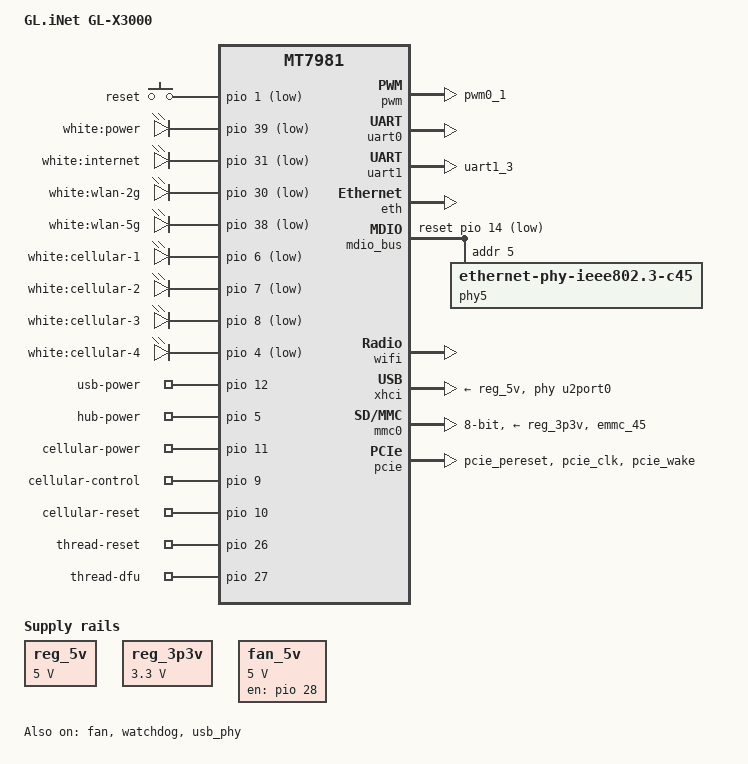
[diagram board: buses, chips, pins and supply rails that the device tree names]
// SPDX-License-Identifier: (GPL-2.0 OR MIT)

/dts-v1/;
#include "mt7981.dtsi"

/ {
	model = "GL.iNet GL-X3000";
	compatible = "glinet,gl-x3000", "mediatek,mt7981";

	aliases {
		label-mac-device = &gmac0;
		led-boot = &led_power;
		led-failsafe = &led_power;
		led-running = &led_power;
		led-upgrade = &led_power;
		serial0 = &uart0;
	};

	chosen {
		stdout-path = "serial0:115200n8";
		bootargs-append = " root=PARTLABEL=rootfs rootwait";
	};
	
	reg_5v: regulator-5v {
		compatible = "regulator-fixed";
		regulator-name = "fixed-5V";
		regulator-min-microvolt = <5000000>;
		regulator-max-microvolt = <5000000>;
		regulator-boot-on;
		regulator-always-on;
	};

	gpio-keys {
		compatible = "gpio-keys";

		reset {
			label = "reset";
			linux,code = <KEY_RESTART>;
			gpios = <&pio 1 GPIO_ACTIVE_LOW>;
		};
	};

	leds {
		compatible = "gpio-leds";

		led_power: led-power-white {
			label = "white:power";
			gpios = <&pio 39 GPIO_ACTIVE_LOW>;
		};

		led-internet {
			label = "white:internet";
			gpios = <&pio 31 GPIO_ACTIVE_LOW>;
		};

		led-wlan-2g {
			label = "white:wlan-2g";
			gpios = <&pio 30 GPIO_ACTIVE_LOW>;
		};

		led-wlan-5g {
			label = "white:wlan-5g";
			gpios = <&pio 38 GPIO_ACTIVE_LOW>;
		};

		led-cellular-1 {
			label = "white:cellular-1";
			gpios = <&pio 6 GPIO_ACTIVE_LOW>;
		};

		led-cellular-2 {
			label = "white:cellular-2";
			gpios = <&pio 7 GPIO_ACTIVE_LOW>;
		};

		led-cellular-3 {
			label = "white:cellular-3";
			gpios = <&pio 8 GPIO_ACTIVE_LOW>;
		};

		led-cellular-4 {
			label = "white:cellular-4";
			gpios = <&pio 4 GPIO_ACTIVE_LOW>;
		};
	};

	gpio-export {
		compatible = "gpio-export";

		usb-power {
			gpio-export,name = "usb-power";
			gpio-export,output = <1>;
			gpios = <&pio 12 GPIO_ACTIVE_HIGH>;
		};

		hub-power {
			gpio-export,name = "hub-power";
			gpio-export,output = <1>;
			gpios = <&pio 5 GPIO_ACTIVE_HIGH>;
		};

		cellular-power {
			gpio-export,name = "cellular-power";
			gpio-export,output = <1>;
			gpios = <&pio 11 GPIO_ACTIVE_HIGH>;
		};

		cellular-control {
			gpio-export,name = "cellular-control";
			gpio-export,output = <1>;
			gpios = <&pio 9 GPIO_ACTIVE_HIGH>;
		};

		cellular-reset {
			gpio-export,name = "cellular-reset";
			gpio-export,output = <0x00>;
			gpios = <&pio 10 GPIO_ACTIVE_HIGH>;
		};

		thread-reset {
			gpio-export,name = "thread-reset";
			gpio-export,output = <1>;
			gpios = <&pio 26 GPIO_ACTIVE_HIGH>;
		};

		thread-dfu {
			gpio-export,name = "thread-dfu";
			gpio-export,output = <1>;
			gpios = <&pio 27 GPIO_ACTIVE_HIGH>;
		};
	};

	reg_3p3v: regulator-3p3v {
		compatible = "regulator-fixed";
		regulator-name = "fixed-3.3V";
		regulator-min-microvolt = <3300000>;
		regulator-max-microvolt = <3300000>;
		regulator-boot-on;
		regulator-always-on;
	};

	fan_5v: regulator-fan-5v {
		compatible = "regulator-fixed";
		regulator-name = "fan";
		regulator-min-microvolt = <5000000>;
		regulator-max-microvolt = <5000000>;
		gpio = <&pio 28 GPIO_ACTIVE_HIGH>;
		enable-active-high;
		regulator-boot-on;
	};
};

&pwm {
	pinctrl-names = "default";
	pinctrl-0 = <&pwm_pins>;

	status = "okay";
};

&fan {
	pwms = <&pwm 0 40000 0>;
	fan-supply = <&fan_5v>;
	interrupt-parent = <&pio>;
	interrupts = <29 IRQ_TYPE_EDGE_RISING>;
	status = "okay";
};

&pio {
	mmc0_pins_default: mmc0-pins-default {
		mux {
			function = "flash";
			groups = "emmc_45";
		};
	};
	
	mmc0_pins_uhs: mmc0-pins-uhs {
		mux {
			function = "flash";
			groups = "emmc_45";
		};
	};

	pwm_pins: pwm0-pins {
		mux {
			function = "pwm";
			groups = "pwm0_1";
		};
	};

	pcie_pins: pcie-pins {
		mux {
			function = "pcie";
			groups = "pcie_pereset", "pcie_clk", "pcie_wake";
		};
	};
	
	uart1_pins: uart1-pins-g1 {
		mux {
			function = "uart";
			groups = "uart1_3";
		};
	};
};

&uart0 {
	status = "okay";
};

&uart1 {
	pinctrl-names = "default";
	pinctrl-0 = <&uart1_pins>;
	status = "okay";
};

&watchdog {
	status = "okay";
};

&eth {
	status = "okay";

	pinctrl-names = "default";
	pinctrl-0 = <&mdio_pins>;

	gmac0: mac@0 {
		compatible = "mediatek,eth-mac";
		reg = <0>;

		phy-mode = "2500base-x";
		phy-handle = <&phy5>;
	};

	gmac1: mac@1 {
		compatible = "mediatek,eth-mac";
		reg = <1>;
		phy-mode = "gmii";
		phy-handle = <&int_gbe_phy>;
	};
};

&mdio_bus {
	reset-gpios = <&pio 14 GPIO_ACTIVE_LOW>;
	reset-delay-us = <600>;
	reset-post-delay-us = <20000>;

	phy5: ethernet-phy@5 {
		reg = <5>;
		compatible = "ethernet-phy-ieee802.3-c45";
	};
};

&usb_phy {
	status = "okay";
};

&wifi {
	status = "okay";
};

&xhci {
	phys = <&u2port0 PHY_TYPE_USB2>;
	vbus-supply = <&reg_5v>;
	mediatek,u3p-dis-msk = <0x01>;
	status = "okay";
};

&mmc0 {
	status = "okay";

	pinctrl-names = "default", "state_uhs";
	pinctrl-0 = <&mmc0_pins_default>;
	pinctrl-1 = <&mmc0_pins_uhs>;
	bus-width = <8>;
	max-frequency = <52000000>;
	vmmc-supply = <&reg_3p3v>;
	cap-mmc-highspeed;
	status = "okay";
};

&pcie {
	pinctrl-names = "default";
	pinctrl-0 = <&pcie_pins>;
	status = "okay";
};

&fan {
	pwms = <&pwm 0 40000 0>;
	fan-supply = <&fan_5v>;
	interrupt-parent = <&pio>;
	interrupts = <29 IRQ_TYPE_EDGE_RISING>;
	status = "okay";
};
